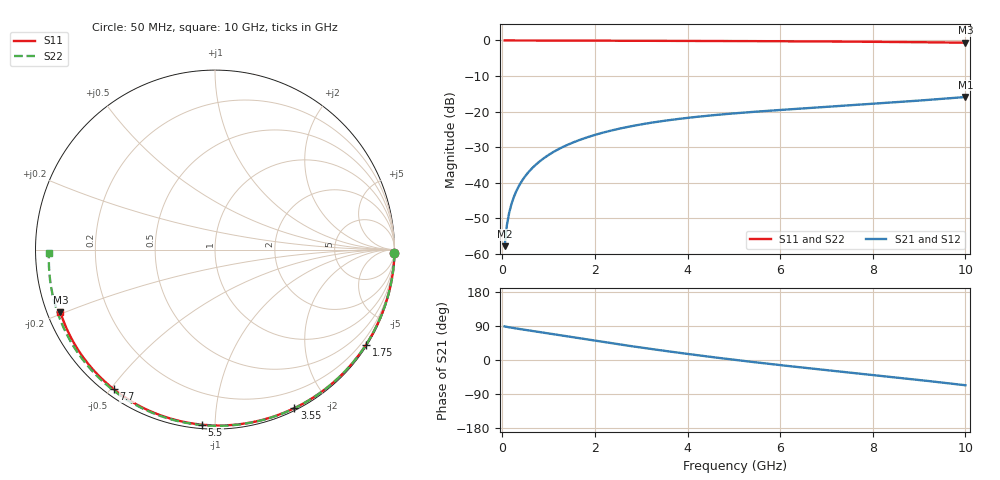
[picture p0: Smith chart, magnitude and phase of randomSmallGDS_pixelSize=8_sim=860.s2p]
! freq	dB(S11)	phase(S11)	dB(S12)	phase(S12)
!  dB(S21)	phase(S21)	dB(S22)	phase(S22)
!S-par simulation data
#  GHz  S  DB  R 50
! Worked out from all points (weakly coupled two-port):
!   200 points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, 50 MHz to 10 GHz, reference 50 ohm
!   highest |S21| = -15.90 dB at 10 GHz (marker M1); lowest = -57.8 dB at 50 MHz (marker M2)
!   lowest |S11| = -0.6 dB at 10 GHz (marker M3), VSWR 27.39, Z = 1.9 - j9.75 ohm
!   |S11| at or under -10 dB: nowhere
!   |S22| runs from -0.7 to 0.0 dB; largest |S21 - S12| = 0
!   S11 on the Smith chart (normalised r, x): 50 MHz: open; 1.75 GHz: 0.04, -3.46; 3.55 GHz: 0.02, -1.62; 5.5 GHz: 0.02, -0.93; 7.7 GHz: 0.03, -0.51; 10 GHz: 0.04, -0.19
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0.05  -0.00 -0.9  -57.83 88.6  -57.83 88.6  -0.00 -1.1
0.1  -0.00 -1.9  -51.84 87.4  -51.84 87.4  -0.00 -2.1
0.15  -0.00 -2.8  -48.36 86.2  -48.36 86.2  -0.00 -3.2
0.2  -0.00 -3.8  -45.90 85.2  -45.90 85.2  -0.00 -4.3
0.25  -0.00 -4.7  -44.00 84.2  -44.00 84.2  -0.00 -5.3
0.35  -0.01 -6.6  -41.12 82.3  -41.12 82.3  -0.01 -7.5
0.5  -0.01 -9.4  -38.07 79.4  -38.07 79.4  -0.01 -10.6
0.7  -0.02 -13.1  -35.20 75.6  -35.20 75.6  -0.02 -14.8
1  -0.03 -18.6  -32.18 69.8  -32.18 69.8  -0.03 -21.1
1.35  -0.04 -25.0  -29.69 63.1  -29.69 63.1  -0.04 -28.4
1.75  -0.05 -32.2  -27.60 55.5  -27.60 55.5  -0.05 -36.5
2.6  -0.07 -47.3  -24.59 39.9  -24.59 39.9  -0.08 -53.4
3.4  -0.10 -60.9  -22.77 25.9  -22.77 25.9  -0.11 -68.7
3.55  -0.11 -63.4  -22.49 23.4  -22.49 23.4  -0.12 -71.5
4.3  -0.14 -75.6  -21.34 11.3  -21.34 11.3  -0.15 -85.1
5.05  -0.17 -87.4  -20.45 -0.0  -20.45 -0.0  -0.18 -98.2
5.5  -0.19 -94.2  -20.00 -6.5  -20.00 -6.5  -0.21 -105.8
6.7  -0.27 -111.8  -18.94 -22.8  -18.94 -22.8  -0.29 -125.4
7.7  -0.35 -125.9  -18.09 -35.7  -18.09 -35.7  -0.38 -141.3
8.35  -0.41 -135.0  -17.51 -44.1  -17.51 -44.1  -0.45 -151.7
9.2  -0.52 -146.7  -16.71 -55.4  -16.71 -55.4  -0.55 -165.4
10  -0.63 -157.9  -15.90 -66.7  -15.90 -66.7  -0.67 -178.7
